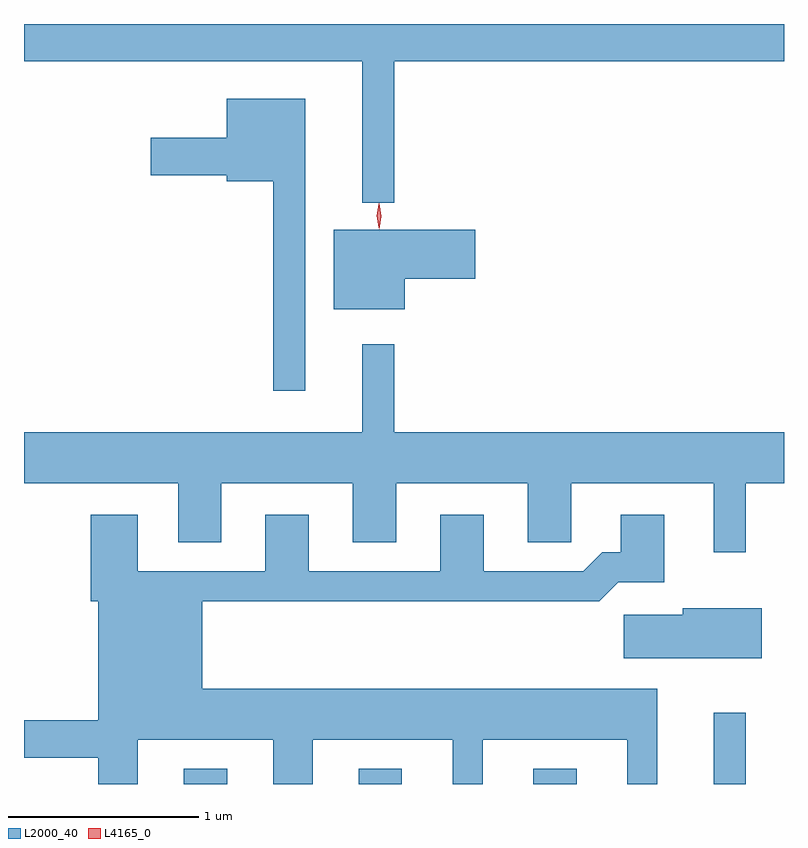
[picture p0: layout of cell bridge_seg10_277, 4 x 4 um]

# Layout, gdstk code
import gdstk
lib = gdstk.Library(unit=1e-6, precision=1e-09)
def R(c, l, rs):  # rectangles x0, y0, x1, y1
    for r in rs: c.add(gdstk.rectangle(r[:2], r[2:], *l))
def A(c, l, x, y, w, h, nx, ny, dx, dy):  # array of equal rectangles
    R(c, l, [(x+i*dx, y+j*dy, x+i*dx+w, y+j*dy+h) for i in range(nx) for j in range(ny)])
def P(c, l, *ps):  # polygons
    for p in ps: c.add(gdstk.Polygon(p, *l))
L2000_40 = (2000, 40)
L4165_0 = (4165, 0)

bridge_seg10_277 = lib.new_cell('bridge_seg10_277')
A(bridge_seg10_277, L2000_40, 1448.651, 2167.833, 0.228, 0.081, 3, 1, 0.92, 0)
R(bridge_seg10_277, L2000_40, [(1451.441,2167.833,1451.609,2168.208)])
P(bridge_seg10_277, L2000_40, [(1449.759,2171.636),(1451.81,2171.636),(1451.81,2171.833),(1447.81,2171.833),(1447.81,2171.636),(1449.591,2171.636),(1449.591,2170.893),(1449.759,2170.893)],
  [(1449.289,2171.439),(1448.876,2171.439),(1448.876,2171.234),(1448.476,2171.234),(1448.476,2171.036),(1448.876,2171.036),(1448.876,2171.006),(1449.121,2171.006),(1449.121,2169.903),(1449.289,2169.903)],
  [(1449.814,2170.491),(1450.184,2170.491),(1450.184,2170.749),(1449.441,2170.749),(1449.441,2170.331),(1449.814,2170.331)],
  [(1451.609,2169.416),(1451.81,2169.416),(1451.81,2169.684),(1449.759,2169.684),(1449.759,2170.148),(1449.591,2170.148),(1449.591,2169.684),(1447.81,2169.684),(1447.81,2169.416),(1448.621,2169.416),(1448.621,2169.106),(1448.849,2169.106),(1448.849,2169.416),(1449.541,2169.416),(1449.541,2169.106),(1449.769,2169.106),(1449.769,2169.416),(1450.461,2169.416),(1450.461,2169.106),(1450.689,2169.106),(1450.689,2169.416),(1451.441,2169.416),(1451.441,2169.053),(1451.609,2169.053)],
  [(1448.409,2168.066),(1449.121,2168.066),(1449.121,2167.833),(1449.329,2167.833),(1449.329,2168.066),(1450.066,2168.066),(1450.066,2167.833),(1450.224,2167.833),(1450.224,2168.066),(1450.986,2168.066),(1450.986,2167.833),(1451.144,2167.833),(1451.144,2168.334),(1448.749,2168.334),(1448.749,2168.796),(1450.837,2168.796),(1450.937,2168.896),(1451.179,2168.896),(1451.179,2169.249),(1450.951,2169.249),(1450.951,2169.054),(1450.854,2169.054),(1450.754,2168.954),(1450.229,2168.954),(1450.229,2169.249),(1450.001,2169.249),(1450.001,2168.954),(1449.309,2168.954),(1449.309,2169.249),(1449.081,2169.249),(1449.081,2168.954),(1448.409,2168.954),(1448.409,2169.249),(1448.161,2169.249),(1448.161,2168.796),(1448.201,2168.796),(1448.201,2168.169),(1447.81,2168.169),(1447.81,2167.971),(1448.201,2167.971),(1448.201,2167.833),(1448.409,2167.833)],
  [(1451.694,2168.759),(1451.276,2168.759),(1451.276,2168.724),(1450.966,2168.724),(1450.966,2168.496),(1451.694,2168.496)])
P(bridge_seg10_277, L4165_0, [(1449.68,2170.754),(1449.67,2170.822),(1449.679,2170.89),(1449.68,2170.89),(1449.68,2170.89),(1449.69,2170.822),(1449.681,2170.754),(1449.681,2170.754)],
  [(1449.677,2170.76),(1449.677,2170.76),(1449.667,2170.823),(1449.677,2170.886),(1449.677,2170.887),(1449.678,2170.886),(1449.687,2170.823),(1449.678,2170.76)])

lib.write_gds('bridge_seg10_277.gds')
